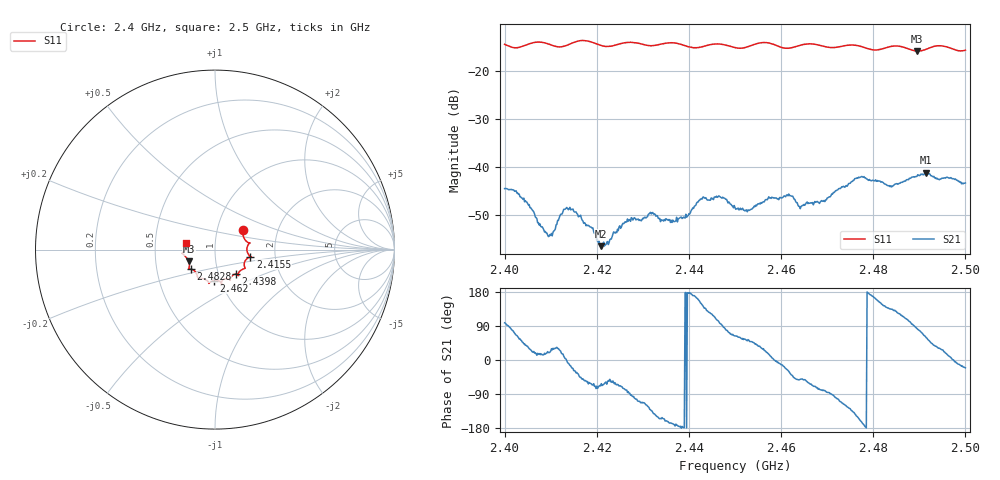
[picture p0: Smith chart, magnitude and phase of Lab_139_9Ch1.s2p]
# Hz S RI R 50
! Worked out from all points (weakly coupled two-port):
!   601 points, 2.4 GHz to 2.5 GHz, reference 50 ohm
!   highest |S21| = -41.29 dB at 2.4915 GHz (marker M1); lowest = -56.6 dB at 2.421 GHz (marker M2)
!   lowest |S11| = -15.9 dB at 2.4895 GHz (marker M3), VSWR 1.38, Z = 37 - j5.02 ohm
!   |S11| at or under -10 dB: start of sweep to end of sweep
!   S12 and S22 are empty: the file has one direction only
!   S11 on the Smith chart (normalised r, x): 2.4 GHz: 1.33, +0.29; 2.4155 GHz: 1.49, -0.12; 2.4398 GHz: 1.21, -0.34; 2.462 GHz: 0.93, -0.33; 2.4828 GHz: 0.74, -0.17; 2.5 GHz: 0.72, +0.06
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2.4e9  0.1554 0.1069  -0.00083 0.00583  0 0  0 0
2.404667e9  0.181 0.0412  0.00335 0.00269  0 0  0 0
2.4095e9  0.1878 0.031  0.00175 0.000631  0 0  0 0
2.413167e9  0.1812 -0.0166  0.00359 0.000216  0 0  0 0
2.4155e9  0.1974 -0.0394  0.00279 -0.00188  0 0  0 0
2.416667e9  0.2023 -0.0428  0.00192 -0.00216  0 0  0 0
2.421e9  0.1754 -0.0533  0.000684 -0.00131  0 0  0 0
2.427167e9  0.1689 -0.1035  0.000104 -0.0028  0 0  0 0
2.433333e9  0.1299 -0.1343  -0.00253 -0.00139  0 0  0 0
2.439833e9  0.1152 -0.1361  -0.00307 0.000154  0 0  0 0
2.443167e9  0.0878 -0.1566  -0.00371 0.00307  0 0  0 0
2.447e9  0.0836 -0.1698  -0.000377 0.00476  0 0  0 0
2.45e9  0.0643 -0.1623  0.00167 0.00333  0 0  0 0
2.462e9  -0.00552 -0.1728  0.00404 -0.00292  0 0  0 0
2.464167e9  -0.0289 -0.1826  0.00229 -0.00282  0 0  0 0
2.466667e9  -0.0343 -0.1877  0.0017 -0.0038  0 0  0 0
2.477e9  -0.0968 -0.1533  -0.00704 -0.00305  0 0  0 0
2.482833e9  -0.1365 -0.1085  -0.0049 0.00424  0 0  0 0
2.483333e9  -0.1402 -0.1084  -0.00459 0.00431  0 0  0 0
2.4895e9  -0.1462 -0.0662  0.000984 0.00785  0 0  0 0
2.4915e9  -0.1634 -0.0393  0.00445 0.00738  0 0  0 0
2.5e9  -0.1594 0.0394  0.00631 -0.0024  0 0  0 0
